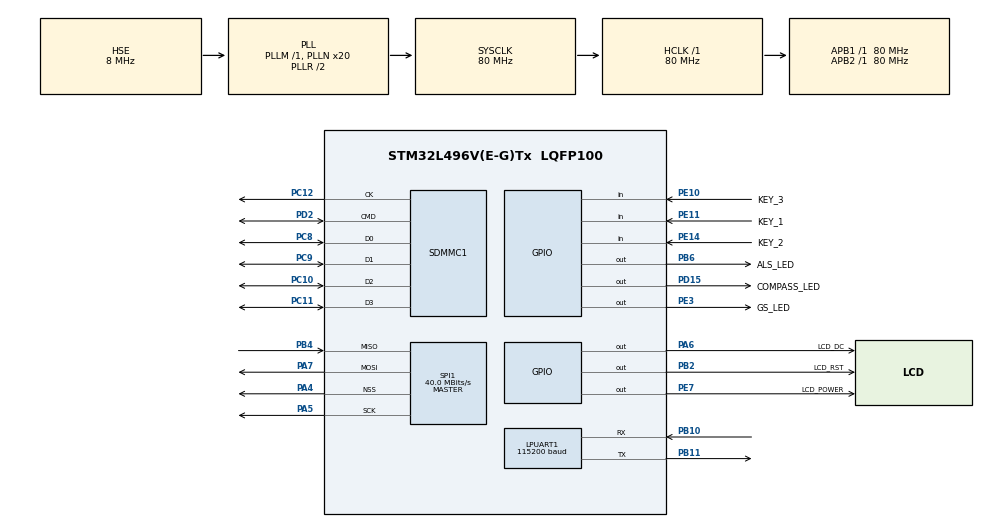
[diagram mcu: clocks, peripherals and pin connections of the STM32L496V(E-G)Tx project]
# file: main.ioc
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FATFS._CODE_PAGE=936
FATFS._USE_FIND=1
FATFS._USE_FORWARD=1
FATFS._USE_LABEL=1
FATFS._USE_LFN=2
LPUART1.BaudRate=115200
LPUART1.WordLength=UART_WORDLENGTH_8B
Mcu.Family=STM32L4
Mcu.Name=STM32L496V(E-G)Tx
Mcu.Package=LQFP100
NVIC.PriorityGroup=NVIC_PRIORITYGROUP_4
PA13\ (JTMS/SWDIO).Mode=Serial_Wire
PA13\ (JTMS/SWDIO).Signal=SYS_JTMS-SWDIO
PA14\ (JTCK/SWCLK).Mode=Serial_Wire
PA14\ (JTCK/SWCLK).Signal=SYS_JTCK-SWCLK
PA4.Mode=NSS_Signal_Hard_Output
PA4.Signal=SPI1_NSS
PA5.Mode=Full_Duplex_Master
PA5.Signal=SPI1_SCK
PA6.GPIO_Label=LCD_DC
PA6.GPIO_Speed=GPIO_SPEED_FREQ_VERY_HIGH
PA6.Signal=GPIO_Output
PA7.Mode=Full_Duplex_Master
PA7.Signal=SPI1_MOSI
PB10.Mode=Asynchronous
PB10.Signal=LPUART1_RX
PB11.Mode=Asynchronous
PB11.Signal=LPUART1_TX
PB2.GPIO_Label=LCD_RST
PB2.GPIO_Speed=GPIO_SPEED_FREQ_VERY_HIGH
PB2.Signal=GPIO_Output
PB4\ (NJTRST).Mode=Full_Duplex_Master
PB4\ (NJTRST).Signal=SPI1_MISO
PB6.GPIO_Label=ALS_LED
PB6.GPIO_Speed=GPIO_SPEED_FREQ_VERY_HIGH
PB6.Signal=GPIO_Output
PC10.Mode=SD_4_bits_Wide_bus
PC10.Signal=SDMMC1_D2
PC11.Mode=SD_4_bits_Wide_bus
PC11.Signal=SDMMC1_D3
PC12.Mode=SD_4_bits_Wide_bus
PC12.Signal=SDMMC1_CK
PC8.Mode=SD_4_bits_Wide_bus
PC8.Signal=SDMMC1_D0
PC9.Mode=SD_4_bits_Wide_bus
PC9.Signal=SDMMC1_D1
PD15.GPIO_Label=COMPASS_LED
PD15.GPIO_Speed=GPIO_SPEED_FREQ_VERY_HIGH
PD15.Signal=GPIO_Output
PD2.Mode=SD_4_bits_Wide_bus
PD2.Signal=SDMMC1_CMD
PE10.GPIO_Label=KEY_3
PE10.GPIO_PuPd=GPIO_PULLUP
PE10.Signal=GPIO_Input
PE11.GPIO_Label=KEY_1
PE11.GPIO_PuPd=GPIO_PULLUP
PE11.Signal=GPIO_Input
PE14.GPIO_Label=KEY_2
PE14.GPIO_PuPd=GPIO_PULLUP
PE14.Signal=GPIO_Input
PE3.GPIO_Label=GS_LED
PE3.GPIO_Speed=GPIO_SPEED_FREQ_VERY_HIGH
PE3.Signal=GPIO_Output
PE7.GPIO_Label=LCD_POWER
PE7.GPIO_Speed=GPIO_SPEED_FREQ_VERY_HIGH
PE7.Signal=GPIO_Output
PH0-OSC_IN\ (PH0).Mode=HSE-External-Oscillator
PH0-OSC_IN\ (PH0).Signal=RCC_OSC_IN
PH1-OSC_OUT\ (PH1).Mode=HSE-External-Oscillator
PH1-OSC_OUT\ (PH1).Signal=RCC_OSC_OUT
ProjectManager.HeapSize=0x2000
ProjectManager.StackSize=0x2000
ProjectManager.TargetToolchain=MDK-ARM V5
RCC.ADCFreq_Value=48000000
RCC.AHBFreq_Value=80000000
RCC.APB1Freq_Value=80000000
RCC.APB1TimFreq_Value=80000000
RCC.APB2Freq_Value=80000000
RCC.APB2TimFreq_Value=80000000
RCC.CortexFreq_Value=80000000
RCC.HCLKFreq_Value=80000000
RCC.HSE_VALUE=8000000
RCC.HSI48_VALUE=48000000
RCC.HSI_VALUE=16000000
RCC.LSE_VALUE=32768
RCC.MSI_VALUE=4000000
RCC.PLLN=20
RCC.PLLSAI1N=12
RCC.PLLSourceVirtual=RCC_PLLSOURCE_HSE
RCC.SYSCLKFreq_VALUE=80000000
RCC.SYSCLKSource=RCC_SYSCLKSOURCE_PLLCLK
RCC.USBFreq_Value=48000000
RCC.VCOOutputFreq_Value=160000000
SDMMC1.ClockDiv=9
SPI1.CalculateBaudRate=40.0 MBits/s
SPI1.DataSize=SPI_DATASIZE_8BIT
SPI1.Direction=SPI_DIRECTION_2LINES
SPI1.Mode=SPI_MODE_MASTER
SPI1.VirtualNSS=VM_NSSHARD
SPI1.VirtualType=VM_MASTER
VP_FATFS_VS_SDIO.Mode=SDIO
board=custom

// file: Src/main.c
/* USER CODE BEGIN Header */
/**
  ******************************************************************************
  * @file           : main.c
  * @brief          : Main program body
  ******************************************************************************
  * @attention
  *
  * <h2><center>&copy; Copyright (c) 2021 STMicroelectronics.
  * All rights reserved.</center></h2>
  *
  * This software component is licensed by ST under BSD 3-Clause license,
  * the "License"; You may not use this file except in compliance with the
  * License. You may obtain a copy of the License at:
  *                        opensource.org/licenses/BSD-3-Clause
  *
  ******************************************************************************
  */
/* USER CODE END Header */
#include "main.h"
#include "fatfs.h"
#include "usart.h"
#include "sdmmc.h"
#include "spi.h"
#include "gpio.h"

void SystemClock_Config(void);

/* USER CODE BEGIN 0 */
/*挂载SD卡*/
int Mount_SD_Fatfs(void)
{
    /*挂载SD卡*/
    retSD = f_mount(&SDFatFS, SDPath, 1);

    if(FR_OK != retSD)
		{
				printf("SD卡文件系统挂载失败!\n");
        return -1 ;
		}
    printf("SD卡文件系统挂载成功!\n");
    return 0 ;
}

/*一张RGB565图片占用的缓存大小*/
#define PIC_SIZE 115200
/*在LCD的X坐标*/
#define DISPLAY_START_X 0
/*在LCD的Y坐标*/
#define DISPLAY_START_Y 0
/*LCD宽度分辨率*/
#define OLED_WIDTH   240
/*LCD高度分辨率*/
#define OLED_HEIGHT  240
/*用于显示的缓存区*/
uint8_t framebuffer[PIC_SIZE] = {1};
int sd_show_picture_bin(const char *path)
{
    UINT br;
    FIL fil ;
    int offset = 0 ;
    int file_size ;
    FRESULT res ;
    /*1.打开传进来的Fatfs文件路径: path*/
    res = f_open(&fil, path, FA_READ);

    if(FR_OK != res)
        return -1;

    /*2.计算这个文件的大小*/
    file_size = f_size(&fil);
    /*3.初始化偏移变量为0*/
    offset = 0 ;

    /*4.计算bin文件里一共包含多少张图片，然后不断的给LCD进行显示*/
    for(int i = 0 ; i < file_size / PIC_SIZE ; i++)
    {
        /*5.读取一张图片,一张图片的大小是PIC_SIZE，
        		将读取出来的图片存放到缓存区framebuffer数组里*/
        res = f_read(&fil, framebuffer, PIC_SIZE, &br);

        if(FR_OK != res)
            return -2;

        /*6.将整个数组赋值给显示接口，显示图片*/
        LCD_Show_Image(DISPLAY_START_X, DISPLAY_START_Y, OLED_WIDTH, OLED_HEIGHT, (uint8_t *)framebuffer);
        /*7.将偏移往后加PIC_SIZE，就到了下一张图片*/
        offset += PIC_SIZE;
        res = f_lseek(&fil, offset);

        if(FR_OK != res)
            return -3;
    }

    /*8.关闭文件描述符*/
    res = f_close(&fil);

    if(FR_OK != res)
        return -4;

    return 0 ;
}
/* USER CODE END 0 */

int main(void)
{

  /* MCU Configuration--------------------------------------------------------*/

  /* Reset of all peripherals, Initializes the Flash interface and the Systick. */
  HAL_Init();

  /* Configure the system clock */
  SystemClock_Config();

  /* Initialize all configured peripherals */
  MX_GPIO_Init();
  MX_LPUART1_UART_Init();
  MX_SPI1_Init();
  MX_SDMMC1_SD_Init();
  MX_FATFS_Init();
  /* USER CODE BEGIN 2 */
	Mount_SD_Fatfs();
  HAL_GPIO_WritePin(GS_LED_GPIO_Port, GS_LED_Pin, GPIO_PIN_SET);
  HAL_GPIO_WritePin(COMPASS_LED_GPIO_Port, COMPASS_LED_Pin, GPIO_PIN_SET);
  HAL_GPIO_WritePin(ALS_LED_GPIO_Port, ALS_LED_Pin, GPIO_PIN_SET);
	st7789_init();
  /* USER CODE END 2 */

  /* Infinite loop */
  while (1)
  {

    /* USER CODE BEGIN 3 */
		sd_show_picture_bin("0:/baby.bin");
  }
  /* USER CODE END 3 */
}

void SystemClock_Config(void)
{
  RCC_OscInitTypeDef RCC_OscInitStruct = {0};
  RCC_ClkInitTypeDef RCC_ClkInitStruct = {0};
  RCC_PeriphCLKInitTypeDef PeriphClkInit = {0};

  /** Initializes the RCC Oscillators according to the specified parameters
  * in the RCC_OscInitTypeDef structure.
  */
  RCC_OscInitStruct.OscillatorType = RCC_OSCILLATORTYPE_HSE;
  RCC_OscInitStruct.HSEState = RCC_HSE_ON;
  RCC_OscInitStruct.PLL.PLLState = RCC_PLL_ON;
  RCC_OscInitStruct.PLL.PLLSource = RCC_PLLSOURCE_HSE;
  RCC_OscInitStruct.PLL.PLLM = 1;
  RCC_OscInitStruct.PLL.PLLN = 20;
  RCC_OscInitStruct.PLL.PLLP = RCC_PLLP_DIV2;
  RCC_OscInitStruct.PLL.PLLQ = RCC_PLLQ_DIV2;
  RCC_OscInitStruct.PLL.PLLR = RCC_PLLR_DIV2;
  if (HAL_RCC_OscConfig(&RCC_OscInitStruct) != HAL_OK)
  {
    Error_Handler();
  }
  /** Initializes the CPU, AHB and APB buses clocks
  */
  RCC_ClkInitStruct.ClockType = RCC_CLOCKTYPE_HCLK|RCC_CLOCKTYPE_SYSCLK
                              |RCC_CLOCKTYPE_PCLK1|RCC_CLOCKTYPE_PCLK2;
  RCC_ClkInitStruct.SYSCLKSource = RCC_SYSCLKSOURCE_PLLCLK;
  RCC_ClkInitStruct.AHBCLKDivider = RCC_SYSCLK_DIV1;
  RCC_ClkInitStruct.APB1CLKDivider = RCC_HCLK_DIV1;
  RCC_ClkInitStruct.APB2CLKDivider = RCC_HCLK_DIV1;

  if (HAL_RCC_ClockConfig(&RCC_ClkInitStruct, FLASH_LATENCY_4) != HAL_OK)
  {
    Error_Handler();
  }
  PeriphClkInit.PeriphClockSelection = RCC_PERIPHCLK_LPUART1|RCC_PERIPHCLK_SDMMC1;
  PeriphClkInit.Lpuart1ClockSelection = RCC_LPUART1CLKSOURCE_PCLK1;
  PeriphClkInit.Sdmmc1ClockSelection = RCC_SDMMC1CLKSOURCE_PLLSAI1;
  PeriphClkInit.PLLSAI1.PLLSAI1Source = RCC_PLLSOURCE_HSE;
  PeriphClkInit.PLLSAI1.PLLSAI1M = 1;
  PeriphClkInit.PLLSAI1.PLLSAI1N = 12;
  PeriphClkInit.PLLSAI1.PLLSAI1P = RCC_PLLP_DIV2;
  PeriphClkInit.PLLSAI1.PLLSAI1Q = RCC_PLLQ_DIV2;
  PeriphClkInit.PLLSAI1.PLLSAI1R = RCC_PLLR_DIV2;
  PeriphClkInit.PLLSAI1.PLLSAI1ClockOut = RCC_PLLSAI1_48M2CLK;
  if (HAL_RCCEx_PeriphCLKConfig(&PeriphClkInit) != HAL_OK)
  {
    Error_Handler();
  }
  /** Configure the main internal regulator output voltage
  */
  if (HAL_PWREx_ControlVoltageScaling(PWR_REGULATOR_VOLTAGE_SCALE1) != HAL_OK)
  {
    Error_Handler();
  }
}

void Error_Handler(void)
{
  __disable_irq();
  while (1)
  {
  }
}

/************************ (C) COPYRIGHT STMicroelectronics *****END OF FILE****/
